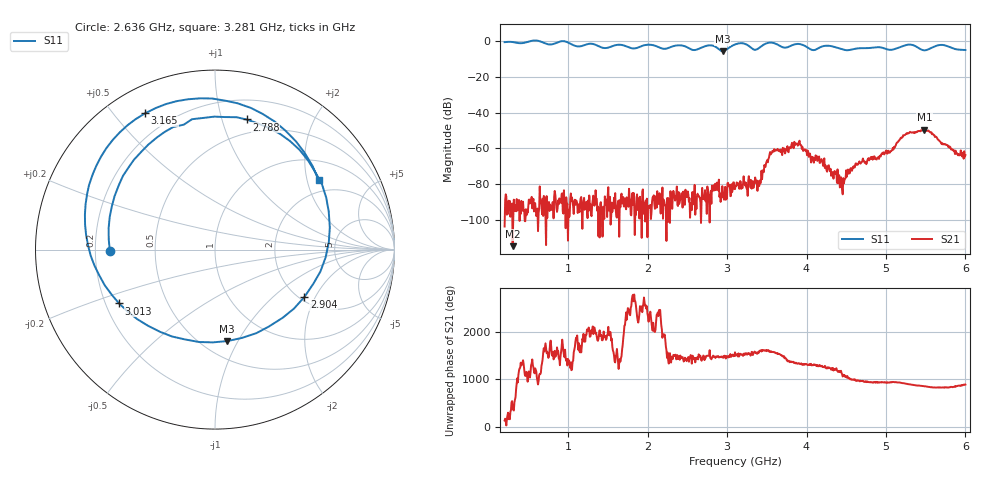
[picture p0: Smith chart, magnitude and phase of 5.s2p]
! NanoVNA-App
! Date: 2024-06-25 16:06:17
! Start: 200MHz Stop: 6GHz Points: 801
! S-Parameter data: F S11 S21 S12 S22
# Hz S RI R 50
!  Frequency  S11_Real  S11_Imag  S21_Real  S21_Imag  S12_Real  S12_Imag  S22_Real  S22_Imag
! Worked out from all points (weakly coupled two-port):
!   801 points, 200 MHz to 6 GHz, reference 50 ohm
!   highest |S21| = -49.61 dB at 5.485 GHz (marker M1); lowest = -114.5 dB at 301.5 MHz (marker M2)
!   lowest |S11| = -5.8 dB at 2.948 GHz (marker M3), VSWR 3.12, Z = 32.5 - j45.1 ohm
!   |S11| at or under -10 dB: nowhere
!   S12 and S22 are empty: the file has one direction only
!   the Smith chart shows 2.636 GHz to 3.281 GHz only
!   S11 on the Smith chart (normalised r, x): 2.636 GHz: 0.26, -0.01; 2.788 GHz: 0.37, +1.20; 2.904 GHz: 2.13, -1.64; 3.013 GHz: 0.26, -0.25; 3.165 GHz: 0.11, +0.61; 3.281 GHz: 1.58, +2.35
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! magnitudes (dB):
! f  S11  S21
! 200 MHz  -0.8  -103.5
! 301.5 MHz  -0.7  -114.5
! 1.171 GHz  -2.9  -94.8
! 2.136 GHz  -3.5  -91.0
! 2.636 GHz  -4.6  -86.2
! 2.788 GHz  -2.5  -86.6
! 2.904 GHz  -5.0  -87.0
! 2.948 GHz  -5.8  -85.4
! 3.013 GHz  -4.3  -79.2
! 3.1 GHz  -2.1  -82.7
! 3.165 GHz  -1.4  -78.2
! 3.281 GHz  -3.2  -78.4
! 3.397 GHz  -4.2  -79.5
! 3.6 GHz  -1.4  -61.5
! 3.897 GHz  -1.8  -57.0
! 4.072 GHz  -5.1  -65.1
! 4.449 GHz  -4.7  -82.9
! 4.644 GHz  -4.3  -69.1
! 5.036 GHz  -5.0  -61.6
! 5.246 GHz  -2.5  -52.2
! 5.485 GHz  -5.3  -49.6
! 6 GHz  -5.2  -63.7
